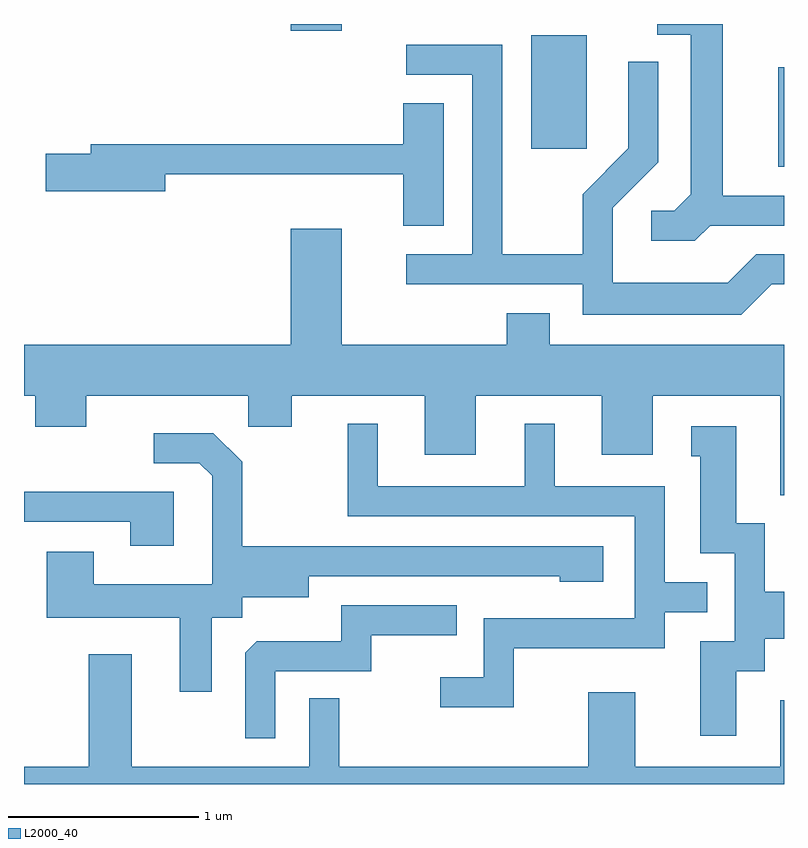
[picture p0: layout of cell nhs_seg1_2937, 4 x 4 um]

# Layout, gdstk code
import gdstk
lib = gdstk.Library(unit=1e-6, precision=1e-09)
def R(c, l, rs):  # rectangles x0, y0, x1, y1
    for r in rs: c.add(gdstk.rectangle(r[:2], r[2:], *l))
def P(c, l, *ps):  # polygons
    for p in ps: c.add(gdstk.Polygon(p, *l))
L2000_40 = (2000, 40)

nhs_seg1_2937 = lib.new_cell('nhs_seg1_2937')
R(nhs_seg1_2937, L2000_40, [(277.581,942.961,277.611,943.484), (276.281,943.056,276.574,943.654), (275.016,943.676,275.284,943.712)])
P(nhs_seg1_2937, L2000_40, [(277.222,942.651),(277.611,942.651),(277.611,942.809),(277.289,942.809),(277.289,943.712),(276.943,943.712),(276.943,943.656),(277.121,943.656),(277.121,942.817),(277.034,942.729),(276.913,942.729),(276.913,942.571),(277.142,942.571)],
  [(277.547,942.341),(277.611,942.341),(277.611,942.499),(277.464,942.499),(277.314,942.349),(276.709,942.349),(276.709,942.744),(276.949,942.984),(276.949,943.513),(276.791,943.513),(276.791,943.057),(276.551,942.817),(276.551,942.499),(276.129,942.499),(276.129,943.604),(275.623,943.604),(275.623,943.446),(275.971,943.446),(275.971,942.499),(275.623,942.499),(275.623,942.341),(276.551,942.341),(276.551,942.181),(277.387,942.181)],
  [(275.819,943.294),(275.606,943.294),(275.606,943.079),(273.961,943.079),(273.961,943.029),(273.726,943.029),(273.726,942.831),(274.354,942.831),(274.354,942.921),(275.606,942.921),(275.606,942.651),(275.819,942.651)],
  [(277.611,942.024),(276.379,942.024),(276.379,942.189),(276.151,942.189),(276.151,942.024),(275.284,942.024),(275.284,942.634),(275.016,942.634),(275.016,942.024),(273.611,942.024),(273.611,941.756),(273.671,941.756),(273.671,941.591),(273.939,941.591),(273.939,941.756),(274.791,941.756),(274.791,941.591),(275.019,941.591),(275.019,941.756),(275.721,941.756),(275.721,941.446),(275.989,941.446),(275.989,941.756),(276.651,941.756),(276.651,941.446),(276.919,941.446),(276.919,941.756),(277.591,941.756),(277.591,941.231),(277.611,941.231)],
  [(276.189,940.426),(276.984,940.426),(276.984,940.616),(277.208,940.616),(277.208,940.774),(276.984,940.774),(276.984,941.279),(276.404,941.279),(276.404,941.608),(276.246,941.608),(276.246,941.279),(275.474,941.279),(275.474,941.608),(275.316,941.608),(275.316,941.121),(276.826,941.121),(276.826,940.584),(276.031,940.584),(276.031,940.274),(275.803,940.274),(275.803,940.116),(276.189,940.116)],
  [(277.359,940.306),(277.509,940.306),(277.509,940.476),(277.611,940.476),(277.611,940.724),(277.509,940.724),(277.509,941.084),(277.359,941.084),(277.359,941.594),(277.123,941.594),(277.123,941.436),(277.171,941.436),(277.171,940.926),(277.351,940.926),(277.351,940.464),(277.171,940.464),(277.171,939.966),(277.359,939.966)],
  [(274.599,940.586),(274.759,940.586),(274.759,940.696),(275.109,940.696),(275.109,940.806),(276.431,940.806),(276.431,940.776),(276.659,940.776),(276.659,940.964),(274.759,940.964),(274.759,941.407),(274.607,941.559),(274.293,941.559),(274.293,941.401),(274.534,941.401),(274.601,941.334),(274.601,940.764),(273.979,940.764),(273.979,940.934),(273.731,940.934),(273.731,940.586),(274.431,940.586),(274.431,940.198),(274.599,940.198)],
  [(274.399,941.249),(273.611,941.249),(273.611,941.091),(274.171,941.091),(274.171,940.966),(274.399,940.966)],
  [(274.934,940.306),(275.439,940.306),(275.439,940.496),(275.888,940.496),(275.888,940.654),(275.281,940.654),(275.281,940.464),(274.837,940.464),(274.776,940.404),(274.776,939.953),(274.934,939.953)],
  [(277.611,940.154),(277.591,940.154),(277.591,939.804),(276.829,939.804),(276.829,940.194),(276.581,940.194),(276.581,939.804),(275.269,939.804),(275.269,940.163),(275.111,940.163),(275.111,939.804),(274.179,939.804),(274.179,940.394),(273.951,940.394),(273.951,939.804),(273.611,939.804),(273.611,939.712),(277.611,939.712)])

lib.write_gds('nhs_seg1_2937.gds')
